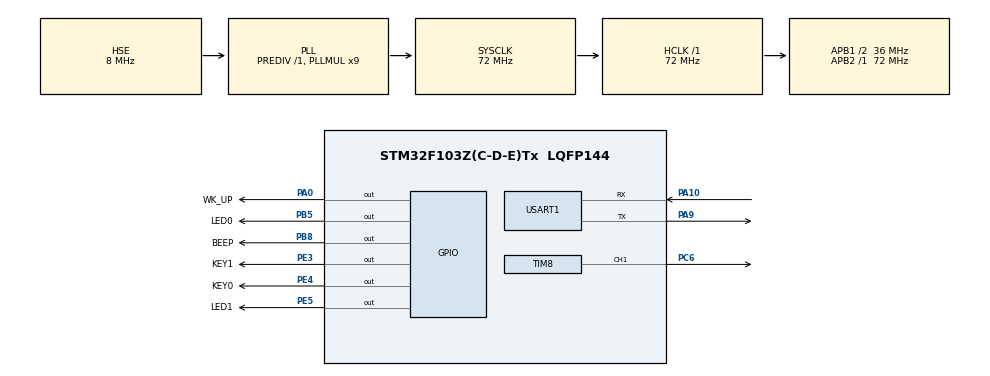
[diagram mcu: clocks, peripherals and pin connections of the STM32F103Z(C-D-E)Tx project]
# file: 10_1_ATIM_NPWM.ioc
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Mcu.Family=STM32F1
Mcu.Name=STM32F103Z(C-D-E)Tx
Mcu.Package=LQFP144
NVIC.PriorityGroup=NVIC_PRIORITYGROUP_2
NVIC.TIM8_UP_IRQn=true\:2\:1\:true\:false\:true\:true\:true\:true
NVIC.USART1_IRQn=true\:2\:2\:true\:false\:true\:true\:true\:true
OSC_IN.Mode=HSE-External-Oscillator
OSC_IN.Signal=RCC_OSC_IN
OSC_OUT.Mode=HSE-External-Oscillator
OSC_OUT.Signal=RCC_OSC_OUT
PA0-WKUP.GPIO_Label=WK_UP
PA0-WKUP.GPIO_PuPd=GPIO_PULLDOWN
PA0-WKUP.GPIO_Speed=GPIO_SPEED_FREQ_HIGH
PA0-WKUP.PinState=GPIO_PIN_RESET
PA0-WKUP.Signal=GPIO_Output
PA10.Mode=Asynchronous
PA10.Signal=USART1_RX
PA13.Mode=Serial_Wire
PA13.Signal=SYS_JTMS-SWDIO
PA14.Mode=Serial_Wire
PA14.Signal=SYS_JTCK-SWCLK
PA9.Mode=Asynchronous
PA9.Signal=USART1_TX
PB5.GPIO_Label=LED0
PB5.GPIO_PuPd=GPIO_PULLUP
PB5.GPIO_Speed=GPIO_SPEED_FREQ_HIGH
PB5.PinState=GPIO_PIN_SET
PB5.Signal=GPIO_Output
PB8.GPIO_Label=BEEP
PB8.GPIO_ModeDefaultOutputPP=GPIO_MODE_OUTPUT_PP
PB8.GPIO_PuPd=GPIO_PULLDOWN
PB8.GPIO_Speed=GPIO_SPEED_FREQ_HIGH
PB8.PinState=GPIO_PIN_RESET
PB8.Signal=GPIO_Output
PC14-OSC32_IN.Mode=LSE-External-Oscillator
PC14-OSC32_IN.Signal=RCC_OSC32_IN
PC15-OSC32_OUT.Mode=LSE-External-Oscillator
PC15-OSC32_OUT.Signal=RCC_OSC32_OUT
PC6.GPIO_Speed=GPIO_SPEED_FREQ_HIGH
PC6.Signal=S_TIM8_CH1
PE3.GPIO_Label=KEY1
PE3.GPIO_PuPd=GPIO_PULLUP
PE3.GPIO_Speed=GPIO_SPEED_FREQ_HIGH
PE3.PinState=GPIO_PIN_SET
PE3.Signal=GPIO_Output
PE4.GPIO_Label=KEY0
PE4.GPIO_PuPd=GPIO_PULLUP
PE4.GPIO_Speed=GPIO_SPEED_FREQ_HIGH
PE4.PinState=GPIO_PIN_SET
PE4.Signal=GPIO_Output
PE5.GPIO_Label=LED1
PE5.GPIO_PuPd=GPIO_PULLUP
PE5.GPIO_Speed=GPIO_SPEED_FREQ_HIGH
PE5.PinState=GPIO_PIN_SET
PE5.Signal=GPIO_Output
ProjectManager.HeapSize=0x200
ProjectManager.StackSize=0x400
ProjectManager.TargetToolchain=STM32CubeIDE
RCC.AHBFreq_Value=72000000
RCC.APB1CLKDivider=RCC_HCLK_DIV2
RCC.APB1Freq_Value=36000000
RCC.APB1TimFreq_Value=72000000
RCC.APB2Freq_Value=72000000
RCC.APB2TimFreq_Value=72000000
RCC.HCLKFreq_Value=72000000
RCC.PLLMUL=RCC_PLL_MUL9
RCC.PLLSourceVirtual=RCC_PLLSOURCE_HSE
RCC.SYSCLKFreq_VALUE=72000000
RCC.SYSCLKSource=RCC_SYSCLKSOURCE_PLLCLK
RCC.USBFreq_Value=72000000
SH.S_TIM8_CH1.0=TIM8_CH1,PWM Generation1 CH1
TIM8.AutoReloadPreload=TIM_AUTORELOAD_PRELOAD_ENABLE
TIM8.Channel-PWM\ Generation1\ CH1=TIM_CHANNEL_1
TIM8.OC1Preload_PWM=DISABLE
TIM8.Period=5000 - 1
TIM8.Prescaler=7200 - 1
TIM8.Pulse-PWM\ Generation1\ CH1=2500
USART1.VirtualMode=VM_ASYNC
VP_TIM8_VS_ClockSourceINT.Mode=Internal
board=custom

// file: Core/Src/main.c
/* USER CODE BEGIN Header */
/**
 ****************************************************************************************************
 * @file        main.c
 * @author      正点原子团队(ALIENTEK)
 * @version     V1.0
 * @date        2024-01-01
 * @brief       高级定时器输出指定个数PWM 实验
 * @license     Copyright (c) 2020-2032, 广州市星翼电子科技有限公司
 ****************************************************************************************************
 * @attention
 *
 * 实验平台:正点原子 STM32F103开发板
 * 在线视频:www.yuanzige.com
 * 技术论坛:www.openedv.com
 * 公司网址:www.alientek.com
 * 购买地址:openedv.taobao.com
 *
 ****************************************************************************************************
 */
/* USER CODE END Header */
#include "main.h"
#include "tim.h"
#include "usart.h"
#include "gpio.h"

/* USER CODE BEGIN Includes */
#include "../../BSP/LED/led.h"
#include "../../BSP/KEY/key.h"
#include "../../SYSTEM/delay/delay.h"
#include "../../SYSTEM/sys/sys.h"
/* USER CODE END Includes */

void SystemClock_Config(void);

int main(void)
{
  /* USER CODE BEGIN 1 */
    uint8_t key = 0;
    uint8_t t = 0;
  /* USER CODE END 1 */

  /* MCU Configuration--------------------------------------------------------*/

  /* Reset of all peripherals, Initializes the Flash interface and the Systick. */
  HAL_Init();

  /* Configure the system clock */
  SystemClock_Config();

  /* USER CODE BEGIN SysInit */
  delay_init(72);						/* 初始化延时函数 */
  /* USER CODE END SysInit */

  /* Initialize all configured peripherals */
  MX_GPIO_Init();
  MX_USART1_UART_Init();
  MX_TIM8_Init();
  /* USER CODE BEGIN 2 */
  atim_timx_npwm_chy_set(5);      		/* 输出5个PWM波 */
  /* USER CODE END 2 */

  /* Infinite loop */
  /* USER CODE BEGIN WHILE */
  while (1)
  {
	  key = key_scan(0);

	  if (key == KEY0_PRES)           	/* KEY0按下 */
	  {
		  atim_timx_npwm_chy_set(5); 	/* 输出5个PWM波(控制TIM8_CH1, 即PC6输出5个脉冲) */
	  }

	  t++;
	  delay_ms(10);

	  if (t > 50)                   	/* 控制LED0闪烁, 提示程序运行状态 */
	  {
		  t = 0;
		  LED0_TOGGLE();
	  }

    /* USER CODE END WHILE */

  }
}

void SystemClock_Config(void)
{
  RCC_OscInitTypeDef RCC_OscInitStruct = {0};
  RCC_ClkInitTypeDef RCC_ClkInitStruct = {0};

  /** Initializes the RCC Oscillators according to the specified parameters
  * in the RCC_OscInitTypeDef structure.
  */
  RCC_OscInitStruct.OscillatorType = RCC_OSCILLATORTYPE_HSE;
  RCC_OscInitStruct.HSEState = RCC_HSE_ON;
  RCC_OscInitStruct.HSEPredivValue = RCC_HSE_PREDIV_DIV1;
  RCC_OscInitStruct.HSIState = RCC_HSI_ON;
  RCC_OscInitStruct.PLL.PLLState = RCC_PLL_ON;
  RCC_OscInitStruct.PLL.PLLSource = RCC_PLLSOURCE_HSE;
  RCC_OscInitStruct.PLL.PLLMUL = RCC_PLL_MUL9;
  if (HAL_RCC_OscConfig(&RCC_OscInitStruct) != HAL_OK)
  {
    Error_Handler();
  }

  /** Initializes the CPU, AHB and APB buses clocks
  */
  RCC_ClkInitStruct.ClockType = RCC_CLOCKTYPE_HCLK|RCC_CLOCKTYPE_SYSCLK
                              |RCC_CLOCKTYPE_PCLK1|RCC_CLOCKTYPE_PCLK2;
  RCC_ClkInitStruct.SYSCLKSource = RCC_SYSCLKSOURCE_PLLCLK;
  RCC_ClkInitStruct.AHBCLKDivider = RCC_SYSCLK_DIV1;
  RCC_ClkInitStruct.APB1CLKDivider = RCC_HCLK_DIV2;
  RCC_ClkInitStruct.APB2CLKDivider = RCC_HCLK_DIV1;

  if (HAL_RCC_ClockConfig(&RCC_ClkInitStruct, FLASH_LATENCY_2) != HAL_OK)
  {
    Error_Handler();
  }
}

void Error_Handler(void)
{
  __disable_irq();
  while (1)
  {
  }
}
